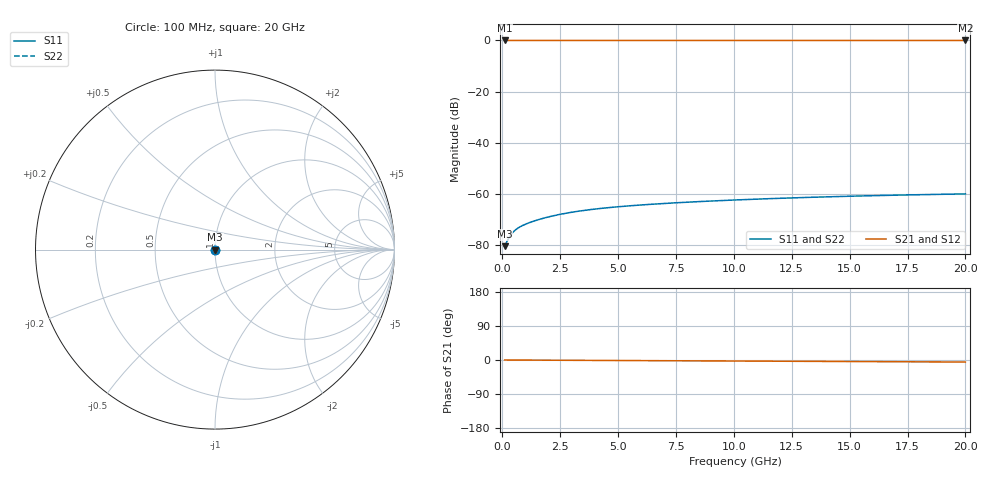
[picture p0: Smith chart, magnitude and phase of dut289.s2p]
! Touchstone file exported from HFSS 2026.1.0
!  File:  C:/ffzhzh/LocalFiles/Ansys_Project_Files/temp_train_TSV_289_1782993726_40604.aedt
!  Generated:  08:03:29 PM Jul  2, 2026
!  Design:  TSV
!  Project:  temp_train_TSV_289_1782993726_40604
! Variables:
!  h_bsmrdl = 2um
!  h_ox = 20um
!  h_rdl = 5um
!  h_sub = 50.65um
!  h_tmrdl = 5um
!  h_tsv = 50.65um
!  h_via = 3um
!  l_bsmrdl = 300um
!  l_sub = 420.56um
!  l_tmrdl = 200um
!  m_sub = 200um
!  pitch = 41.09um
!  r_tsv = 10.28um
!  s_tmrdl = 10um
!  w_bsmrdl = 18um
!  w_sub = 500um
!  w_tmrdl = 12um
!  x_tsv_center1 = 206um
!  x_tsv_center2 = 524um
!  x_tsv_center3 = 736um
!  x_tsv_center4 = 1054um
!  x_tsv_center5 = 1266um
!  x_tsv_center6 = 1584um
# GHz S MA R 50.000000
! Terminal data exported
! Port[1] = TSV1_1_T1
! Port[2] = TSV1_1_T2
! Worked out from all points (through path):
!   200 points, 100 MHz to 20 GHz, reference 50 ohm
!   highest |S21| = 0.00 dB at 100 MHz (marker M1); lowest = 0.0 dB at 20 GHz (marker M2)
!   lowest |S11| = -80.4 dB at 100 MHz (marker M3), VSWR 1.00, Z = 50 + j0.00324 ohm
!   |S11| at or under -10 dB: start of sweep to end of sweep
!   |S22| runs from -80.4 to -60.0 dB; largest |S21 - S12| = 3.3e-15
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0.1  9.5e-05 19.9  0.9999 -0.0  0.9999 -0.0  9.5e-05 19.9
! Gamma 0 0 0 0
! Port Impedance 50 0 50 0
0.2  0.0001172 31.5  0.9999 -0.1  0.9999 -0.1  0.0001172 31.5
0.3  0.0001421 36.5  0.9999 -0.1  0.9999 -0.1  0.0001421 36.5
0.4  0.0001651 38.4  0.9999 -0.1  0.9999 -0.1  0.0001651 38.4
0.5  0.0001852 39.0  0.9999 -0.1  0.9999 -0.1  0.0001852 39.0
0.6  0.0002025 39.2  0.9998 -0.2  0.9998 -0.2  0.0002025 39.2
0.7  0.0002177 39.3  0.9998 -0.2  0.9998 -0.2  0.0002176 39.3
0.8  0.0002313 39.3  0.9998 -0.2  0.9998 -0.2  0.0002312 39.3
1  0.0002554 39.6  0.9998 -0.3  0.9998 -0.3  0.0002553 39.6
1.2  0.0002772 39.9  0.9998 -0.3  0.9998 -0.3  0.0002771 39.9
1.5  0.0003077 40.4  0.9997 -0.4  0.9997 -0.4  0.0003076 40.4
2.1  0.0003642 40.7  0.9997 -0.6  0.9997 -0.6  0.0003641 40.7
2.8  0.0004227 40.1  0.9997 -0.8  0.9997 -0.8  0.0004227 40.1
3.5  0.0004732 39.2  0.9996 -1.0  0.9996 -1.0  0.0004732 39.2
4.2  0.0005168 38.1  0.9996 -1.1  0.9996 -1.1  0.0005168 38.1
4.9  0.0005551 37.0  0.9996 -1.3  0.9996 -1.3  0.0005551 37.0
6.8  0.0006418 34.7  0.9995 -1.8  0.9995 -1.8  0.0006417 34.7
8.3  0.0006998 33.1  0.9994 -2.2  0.9994 -2.2  0.0006997 33.1
10.1  0.0007619 31.3  0.9994 -2.7  0.9994 -2.7  0.0007619 31.3
13.4  0.0008596 28.0  0.9993 -3.6  0.9993 -3.6  0.0008595 28.0
16.7  0.0009383 24.6  0.9992 -4.5  0.9992 -4.5  0.0009381 24.6
20  0.001 21.3  0.9991 -5.4  0.9991 -5.4  0.001 21.3
